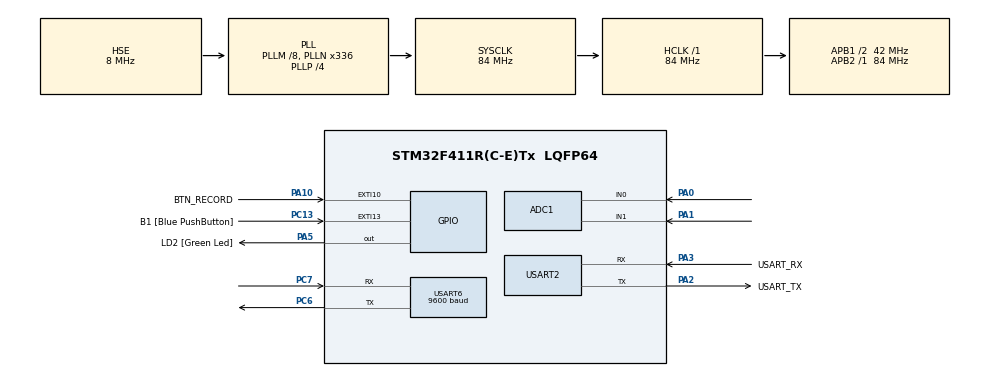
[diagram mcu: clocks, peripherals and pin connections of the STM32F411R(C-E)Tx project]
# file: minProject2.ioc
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ADC1.Channel-0\#ChannelRegularConversion=ADC_CHANNEL_0
ADC1.Channel-1\#ChannelRegularConversion=ADC_CHANNEL_1
ADC1.ClockPrescaler=ADC_CLOCK_SYNC_PCLK_DIV8
ADC1.ContinuousConvMode=DISABLE
ADC1.DMAContinuousRequests=ENABLE
ADC1.DataAlign=ADC_DATAALIGN_RIGHT
ADC1.DiscontinuousConvMode=ENABLE
ADC1.EOCSelection=ADC_EOC_SEQ_CONV
ADC1.NbrOfConversion=2
ADC1.NbrOfConversionFlag=1
ADC1.NbrOfDiscConversion=2
ADC1.Rank-0\#ChannelRegularConversion=1
ADC1.Rank-1\#ChannelRegularConversion=2
ADC1.SamplingTime-0\#ChannelRegularConversion=ADC_SAMPLETIME_480CYCLES
ADC1.SamplingTime-1\#ChannelRegularConversion=ADC_SAMPLETIME_480CYCLES
ADC1.master=1
Dma.ADC1.0.Direction=DMA_PERIPH_TO_MEMORY
Dma.ADC1.0.FIFOMode=DMA_FIFOMODE_DISABLE
Dma.ADC1.0.Instance=DMA2_Stream0
Dma.ADC1.0.MemDataAlignment=DMA_MDATAALIGN_WORD
Dma.ADC1.0.MemInc=DMA_MINC_ENABLE
Dma.ADC1.0.Mode=DMA_CIRCULAR
Dma.ADC1.0.PeriphDataAlignment=DMA_PDATAALIGN_WORD
Dma.ADC1.0.PeriphInc=DMA_PINC_DISABLE
Dma.ADC1.0.Priority=DMA_PRIORITY_LOW
Dma.Request0=ADC1
Mcu.Family=STM32F4
Mcu.Name=STM32F411R(C-E)Tx
Mcu.Package=LQFP64
NVIC.DMA2_Stream0_IRQn=true\:0\:0\:false\:false\:true\:false\:true\:true
NVIC.EXTI15_10_IRQn=true\:0\:0\:false\:false\:true\:true\:true\:true
NVIC.PriorityGroup=NVIC_PRIORITYGROUP_0
NVIC.USART2_IRQn=true\:0\:0\:false\:false\:true\:true\:true\:true
NVIC.USART6_IRQn=true\:0\:0\:false\:false\:true\:true\:true\:true
PA0-WKUP.Signal=ADCx_IN0
PA1.Signal=ADCx_IN1
PA10.GPIO_Label=BTN_RECORD
PA10.GPIO_ModeDefaultEXTI=GPIO_MODE_IT_FALLING
PA10.Signal=GPXTI10
PA13.GPIO_Label=TMS
PA13.Mode=Serial_Wire
PA13.Signal=SYS_JTMS-SWDIO
PA14.GPIO_Label=TCK
PA14.Mode=Serial_Wire
PA14.Signal=SYS_JTCK-SWCLK
PA2.GPIO_Label=USART_TX
PA2.Mode=Asynchronous
PA2.Signal=USART2_TX
PA3.GPIO_Label=USART_RX
PA3.Mode=Asynchronous
PA3.Signal=USART2_RX
PA5.GPIO_Label=LD2 [Green Led]
PA5.Signal=GPIO_Output
PB3.GPIO_Label=SWO
PB3.Signal=SYS_JTDO-SWO
PC13-ANTI_TAMP.GPIO_Label=B1 [Blue PushButton]
PC13-ANTI_TAMP.GPIO_ModeDefaultEXTI=GPIO_MODE_IT_FALLING
PC13-ANTI_TAMP.Signal=GPXTI13
PC14-OSC32_IN.Mode=LSE-External-Oscillator
PC14-OSC32_IN.Signal=RCC_OSC32_IN
PC15-OSC32_OUT.Mode=LSE-External-Oscillator
PC15-OSC32_OUT.Signal=RCC_OSC32_OUT
PC6.Mode=Asynchronous
PC6.Signal=USART6_TX
PC7.Mode=Asynchronous
PC7.Signal=USART6_RX
PH0\ -\ OSC_IN.Mode=HSE-External-Clock-Source
PH0\ -\ OSC_IN.Signal=RCC_OSC_IN
PH1\ -\ OSC_OUT.Mode=HSE-External-Clock-Source
PH1\ -\ OSC_OUT.Signal=RCC_OSC_OUT
ProjectManager.HeapSize=0x200
ProjectManager.StackSize=0x400
ProjectManager.TargetToolchain=STM32CubeIDE
RCC.48MHZClocksFreq_Value=84000000
RCC.AHBFreq_Value=84000000
RCC.APB1CLKDivider=RCC_HCLK_DIV2
RCC.APB1Freq_Value=42000000
RCC.APB1TimFreq_Value=84000000
RCC.APB2Freq_Value=84000000
RCC.APB2TimFreq_Value=84000000
RCC.CortexFreq_Value=84000000
RCC.FLatency-AdvancedSettings=FLASH_LATENCY_2
RCC.HCLKFreq_Value=84000000
RCC.HSE_VALUE=8000000
RCC.HSI_VALUE=16000000
RCC.PLLM=8
RCC.PLLN=336
RCC.PLLP=RCC_PLLP_DIV4
RCC.PLLSourceVirtual=RCC_PLLSOURCE_HSE
RCC.SYSCLKFreq_VALUE=84000000
RCC.SYSCLKSource=RCC_SYSCLKSOURCE_PLLCLK
RCC.VCOOutputFreq_Value=336000000
SH.ADCx_IN0.0=ADC1_IN0,IN0
SH.ADCx_IN1.0=ADC1_IN1,IN1
USART2.VirtualMode=VM_ASYNC
USART6.BaudRate=9600
USART6.VirtualMode=VM_ASYNC
board=NUCLEO-F411RE

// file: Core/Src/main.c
/* USER CODE BEGIN Header */
/**
  ******************************************************************************
  * @file           : main.c
  * @brief          : Main program body
  ******************************************************************************
  * @attention
  *
  * Copyright (c) 2024 STMicroelectronics.
  * All rights reserved.
  *
  * This software is licensed under terms that can be found in the LICENSE file
  * in the root directory of this software component.
  * If no LICENSE file comes with this software, it is provided AS-IS.
  *
  ******************************************************************************
  */
/* USER CODE END Header */
#include "main.h"

/* USER CODE BEGIN Includes */
#include <stdio.h>
#include <string.h>
/* USER CODE END Includes */

/* USER CODE BEGIN PD */
#ifdef __GNUC__
/* With GCC, small printf (option LD Linker->Libraries->Small printf
   set to 'Yes') calls __io_putchar() */
#define PUTCHAR_PROTOTYPE int __io_putchar(int ch)
#else
#define PUTCHAR_PROTOTYPE int fputc(int ch, FILE *f)
#endif /* __GNUC__ */
#define ARR_CNT 5
#define CMD_SIZE 50
/* USER CODE END PD */

ADC_HandleTypeDef hadc1;
DMA_HandleTypeDef hdma_adc1;

UART_HandleTypeDef huart2;
UART_HandleTypeDef huart6;

/* USER CODE BEGIN PV */
uint8_t rx2char;
volatile unsigned char rx2Flag = 0;
volatile char rx2Data[50];

volatile unsigned char btFlag = 0;
uint8_t btchar;
char btData[50];

volatile unsigned char jsFlag = RESET;
uint16_t JoyStick_XY[2];

volatile unsigned char btnFlag = 0;
volatile uint16_t secRecordCnt = 10;
volatile uint16_t secBackCnt = 10;
//volatile unsigned char btnRecordFlag = 0;
/* USER CODE END PV */

void SystemClock_Config(void);
static void MX_GPIO_Init(void);
static void MX_DMA_Init(void);
static void MX_USART2_UART_Init(void);
static void MX_USART6_UART_Init(void);
static void MX_ADC1_Init(void);
/* USER CODE BEGIN PFP */
void bluetooth_Event();
void joystick_Event(unsigned char recordStat);
void HAL_IncTick(void);
/* USER CODE END PFP */

int main(void)
{

  /* USER CODE BEGIN 1 */
	unsigned char recordStat = 0;
  /* USER CODE END 1 */

  /* MCU Configuration--------------------------------------------------------*/

  /* Reset of all peripherals, Initializes the Flash interface and the Systick. */
  HAL_Init();

  /* Configure the system clock */
  SystemClock_Config();

  /* Initialize all configured peripherals */
  MX_GPIO_Init();
  MX_DMA_Init();
  MX_USART2_UART_Init();
  MX_USART6_UART_Init();
  MX_ADC1_Init();
  /* USER CODE BEGIN 2 */
  HAL_UART_Receive_IT(&huart2, &rx2char,1);
  HAL_UART_Receive_IT(&huart6, &btchar,1);

  HAL_ADC_Start_DMA(&hadc1, (uint32_t *)JoyStick_XY, 2);

  printf("start main_adc()\r\n");
//  char buf[10] = "Hello\r";

  /* USER CODE END 2 */

  /* Infinite loop */
  /* USER CODE BEGIN WHILE */
  while (1)
  {
	  HAL_Delay(100);

	  if(rx2Flag)
	  {
	  		printf("recv2 : %s\r\n",rx2Data);
	  		rx2Flag = 0;
	  //    HAL_UART_Transmit(&huart6, (uint8_t *)buf, strlen(buf), 0xFFFF);
	  }
	  if(btFlag)
	  {
		  printf("bt : %s\r\n",btData);
		  btFlag = 0;
		  bluetooth_Event();
	  }
	  if(jsFlag){
		  jsFlag = RESET;
		  HAL_ADC_Start_DMA(&hadc1, (uint32_t *)JoyStick_XY, 2);
		  JoyStick_XY[1] = HAL_ADC_GetValue(&hadc1);
		  joystick_Event(recordStat);
	  }

	  if (btnFlag) {  // If Button Pressed
		  btnFlag = RESET;

		  if ((secBackCnt > 10) && (HAL_GPIO_ReadPin(B1_GPIO_Port, B1_Pin) == GPIO_PIN_RESET))
		  {
			  memset(btData, 0, sizeof(char) * 50);
			  sprintf(btData, "[JHW_LIN]COMEBACK\r\n");
			  HAL_UART_Transmit(&huart6, (uint8_t *)btData, strlen(btData), 0xFFFF);

			  secBackCnt = 0;
			  printf("comeback BTN pressed\r\n");
		  }

		  if ((secRecordCnt > 10) && (HAL_GPIO_ReadPin(BTN_RECORD_GPIO_Port, BTN_RECORD_Pin) == GPIO_PIN_SET))
		  {
			  recordStat = !recordStat;
			  secRecordCnt = 0;
			  printf("record BTN pressed\r\n");
		  }
	  }
    /* USER CODE END WHILE */

    /* USER CODE BEGIN 3 */
	__NOP();
  }
  /* USER CODE END 3 */
}

void SystemClock_Config(void)
{
  RCC_OscInitTypeDef RCC_OscInitStruct = {0};
  RCC_ClkInitTypeDef RCC_ClkInitStruct = {0};

  /** Configure the main internal regulator output voltage
  */
  __HAL_RCC_PWR_CLK_ENABLE();
  __HAL_PWR_VOLTAGESCALING_CONFIG(PWR_REGULATOR_VOLTAGE_SCALE1);

  /** Initializes the RCC Oscillators according to the specified parameters
  * in the RCC_OscInitTypeDef structure.
  */
  RCC_OscInitStruct.OscillatorType = RCC_OSCILLATORTYPE_HSE;
  RCC_OscInitStruct.HSEState = RCC_HSE_BYPASS;
  RCC_OscInitStruct.PLL.PLLState = RCC_PLL_ON;
  RCC_OscInitStruct.PLL.PLLSource = RCC_PLLSOURCE_HSE;
  RCC_OscInitStruct.PLL.PLLM = 8;
  RCC_OscInitStruct.PLL.PLLN = 336;
  RCC_OscInitStruct.PLL.PLLP = RCC_PLLP_DIV4;
  RCC_OscInitStruct.PLL.PLLQ = 4;
  if (HAL_RCC_OscConfig(&RCC_OscInitStruct) != HAL_OK)
  {
    Error_Handler();
  }

  /** Initializes the CPU, AHB and APB buses clocks
  */
  RCC_ClkInitStruct.ClockType = RCC_CLOCKTYPE_HCLK|RCC_CLOCKTYPE_SYSCLK
                              |RCC_CLOCKTYPE_PCLK1|RCC_CLOCKTYPE_PCLK2;
  RCC_ClkInitStruct.SYSCLKSource = RCC_SYSCLKSOURCE_PLLCLK;
  RCC_ClkInitStruct.AHBCLKDivider = RCC_SYSCLK_DIV1;
  RCC_ClkInitStruct.APB1CLKDivider = RCC_HCLK_DIV2;
  RCC_ClkInitStruct.APB2CLKDivider = RCC_HCLK_DIV1;

  if (HAL_RCC_ClockConfig(&RCC_ClkInitStruct, FLASH_LATENCY_2) != HAL_OK)
  {
    Error_Handler();
  }
}

static void MX_ADC1_Init(void)
{

  ADC_ChannelConfTypeDef sConfig = {0};

  /** Configure the global features of the ADC (Clock, Resolution, Data Alignment and number of conversion)
  */
  hadc1.Instance = ADC1;
  hadc1.Init.ClockPrescaler = ADC_CLOCK_SYNC_PCLK_DIV8;
  hadc1.Init.Resolution = ADC_RESOLUTION_12B;
  hadc1.Init.ScanConvMode = ENABLE;
  hadc1.Init.ContinuousConvMode = DISABLE;
  hadc1.Init.DiscontinuousConvMode = ENABLE;
  hadc1.Init.NbrOfDiscConversion = 2;
  hadc1.Init.ExternalTrigConvEdge = ADC_EXTERNALTRIGCONVEDGE_NONE;
  hadc1.Init.ExternalTrigConv = ADC_SOFTWARE_START;
  hadc1.Init.DataAlign = ADC_DATAALIGN_RIGHT;
  hadc1.Init.NbrOfConversion = 2;
  hadc1.Init.DMAContinuousRequests = ENABLE;
  hadc1.Init.EOCSelection = ADC_EOC_SEQ_CONV;
  if (HAL_ADC_Init(&hadc1) != HAL_OK)
  {
    Error_Handler();
  }

  /** Configure for the selected ADC regular channel its corresponding rank in the sequencer and its sample time.
  */
  sConfig.Channel = ADC_CHANNEL_0;
  sConfig.Rank = 1;
  sConfig.SamplingTime = ADC_SAMPLETIME_480CYCLES;
  if (HAL_ADC_ConfigChannel(&hadc1, &sConfig) != HAL_OK)
  {
    Error_Handler();
  }

  /** Configure for the selected ADC regular channel its corresponding rank in the sequencer and its sample time.
  */
  sConfig.Channel = ADC_CHANNEL_1;
  sConfig.Rank = 2;
  if (HAL_ADC_ConfigChannel(&hadc1, &sConfig) != HAL_OK)
  {
    Error_Handler();
  }

}

static void MX_USART2_UART_Init(void)
{

  huart2.Instance = USART2;
  huart2.Init.BaudRate = 115200;
  huart2.Init.WordLength = UART_WORDLENGTH_8B;
  huart2.Init.StopBits = UART_STOPBITS_1;
  huart2.Init.Parity = UART_PARITY_NONE;
  huart2.Init.Mode = UART_MODE_TX_RX;
  huart2.Init.HwFlowCtl = UART_HWCONTROL_NONE;
  huart2.Init.OverSampling = UART_OVERSAMPLING_16;
  if (HAL_UART_Init(&huart2) != HAL_OK)
  {
    Error_Handler();
  }

}

static void MX_USART6_UART_Init(void)
{

  huart6.Instance = USART6;
  huart6.Init.BaudRate = 9600;
  huart6.Init.WordLength = UART_WORDLENGTH_8B;
  huart6.Init.StopBits = UART_STOPBITS_1;
  huart6.Init.Parity = UART_PARITY_NONE;
  huart6.Init.Mode = UART_MODE_TX_RX;
  huart6.Init.HwFlowCtl = UART_HWCONTROL_NONE;
  huart6.Init.OverSampling = UART_OVERSAMPLING_16;
  if (HAL_UART_Init(&huart6) != HAL_OK)
  {
    Error_Handler();
  }

}

static void MX_DMA_Init(void)
{

  /* DMA controller clock enable */
  __HAL_RCC_DMA2_CLK_ENABLE();

  /* DMA interrupt init */
  /* DMA2_Stream0_IRQn interrupt configuration */
  HAL_NVIC_SetPriority(DMA2_Stream0_IRQn, 0, 0);
  HAL_NVIC_EnableIRQ(DMA2_Stream0_IRQn);

}

static void MX_GPIO_Init(void)
{
  GPIO_InitTypeDef GPIO_InitStruct = {0};

  /* GPIO Ports Clock Enable */
  __HAL_RCC_GPIOC_CLK_ENABLE();
  __HAL_RCC_GPIOH_CLK_ENABLE();
  __HAL_RCC_GPIOA_CLK_ENABLE();
  __HAL_RCC_GPIOB_CLK_ENABLE();

  /*Configure GPIO pin Output Level */
  HAL_GPIO_WritePin(LD2_GPIO_Port, LD2_Pin, GPIO_PIN_RESET);

  /*Configure GPIO pin : B1_Pin */
  GPIO_InitStruct.Pin = B1_Pin;
  GPIO_InitStruct.Mode = GPIO_MODE_IT_FALLING;
  GPIO_InitStruct.Pull = GPIO_NOPULL;
  HAL_GPIO_Init(B1_GPIO_Port, &GPIO_InitStruct);

  /*Configure GPIO pin : LD2_Pin */
  GPIO_InitStruct.Pin = LD2_Pin;
  GPIO_InitStruct.Mode = GPIO_MODE_OUTPUT_PP;
  GPIO_InitStruct.Pull = GPIO_NOPULL;
  GPIO_InitStruct.Speed = GPIO_SPEED_FREQ_LOW;
  HAL_GPIO_Init(LD2_GPIO_Port, &GPIO_InitStruct);

  /*Configure GPIO pin : BTN_RECORD_Pin */
  GPIO_InitStruct.Pin = BTN_RECORD_Pin;
  GPIO_InitStruct.Mode = GPIO_MODE_IT_FALLING;
  GPIO_InitStruct.Pull = GPIO_NOPULL;
  HAL_GPIO_Init(BTN_RECORD_GPIO_Port, &GPIO_InitStruct);

  /* EXTI interrupt init*/
  HAL_NVIC_SetPriority(EXTI15_10_IRQn, 0, 0);
  HAL_NVIC_EnableIRQ(EXTI15_10_IRQn);

}

/* USER CODE BEGIN 4 */
void MX_GPIO_LED_ON(int pin)
{
	HAL_GPIO_WritePin(LD2_GPIO_Port, pin, GPIO_PIN_SET);
}

void MX_GPIO_LED_OFF(int pin)
{
	HAL_GPIO_WritePin(LD2_GPIO_Port, pin, GPIO_PIN_RESET);
}

void HAL_IncTick(void) // HAL_getTick()
{
    uwTick += uwTickFreq;

	if(uwTick%2000 == 0)
	{
		secRecordCnt++;
		secBackCnt++;
		btnFlag = SET;
	}

    if((uwTick % 50) == 0) //100mS tick
    	jsFlag = SET;
}

void bluetooth_Event()
{

  int i=0;
  char * pToken;
  char * pArray[ARR_CNT]={0};
  char recvBuf[CMD_SIZE]={0};
  char sendBuf[CMD_SIZE]={0};
  strcpy(recvBuf,btData);

  pToken = strtok(recvBuf,"[@]");
  while(pToken != NULL)
  {
    pArray[i] =  pToken;
    if(++i >= ARR_CNT)
      break;
    pToken = strtok(NULL,"[@]");
  }

  sprintf(sendBuf,"[%s]%s@%s\n",pArray[0],pArray[1],pArray[2]);
  HAL_UART_Transmit(&huart6, (uint8_t *)sendBuf, strlen(sendBuf), 0xFFFF);

}

void joystick_Event(unsigned char recordStat)
{
    if (recordStat)
    {
        int x = JoyStick_XY[0];
        int y = JoyStick_XY[1];

        if(x > 2700)
        	x = 4090;
        else if (x > 1350)
        	x = 2048;
        else x = 0;

        if(y > 2700)
        	y = 4090;
        else if (y > 1350)
        	y = 2048;
        else y = 0;

        printf("%d,%d\r\n", x, y);

        memset(btData, 0, sizeof(btData));
        sprintf(btData, "[JHW_RC]%d@%d\n", x, y);
        HAL_UART_Transmit(&huart6, (uint8_t *)btData, strlen(btData), 0xFFFF);

        HAL_Delay(100);

        memset(btData, 0, sizeof(btData));
        sprintf(btData, "[JHW_SQL]ADD@%d@%d\n", x, y);
        HAL_UART_Transmit(&huart6, (uint8_t *)btData, strlen(btData), 0xFFFF);
    }
}

/**
  * @brief  Retargets the C library printf function to the USART.
  * @param  None
  * @retval None
  */
PUTCHAR_PROTOTYPE
{
  /* Place your implementation of fputc here */
  /* e.g. write a character to the USART6 and Loop until the end of transmission */
  HAL_UART_Transmit(&huart2, (uint8_t *)&ch, 1, 0xFFFF);

  return ch;
}
void HAL_UART_RxCpltCallback(UART_HandleTypeDef *huart)
{
    if(huart->Instance == USART2)
    {
    	static int i=0;
    	rx2Data[i] = rx2char;
    	if((rx2Data[i] == '\r')||(btData[i] == '\n'))
    	{
    		rx2Data[i] = '\0';
    		rx2Flag = 1;
    		i = 0;
    	}
    	else
    	{
    		i++;
    	}
    	HAL_UART_Receive_IT(&huart2, &rx2char,1);
    }
    if(huart->Instance == USART6)
    {
    	static int i=0;
    	btData[i] = btchar;
    	if((btData[i] == '\n') || btData[i] == '\r')
    	{
    		btData[i] = '\0';
    		btFlag = 1;
    		i = 0;
    	}
    	else
    	{
    		i++;
    	}
    	HAL_UART_Receive_IT(&huart6, &btchar,1);
    }
}
/* USER CODE END 4 */

void Error_Handler(void)
{
  /* USER CODE BEGIN Error_Handler_Debug */
  /* User can add his own implementation to report the HAL error return state */
  __disable_irq();
  while (1)
  {
	  puts("Error_Handler()");
  }
  /* USER CODE END Error_Handler_Debug */
}
